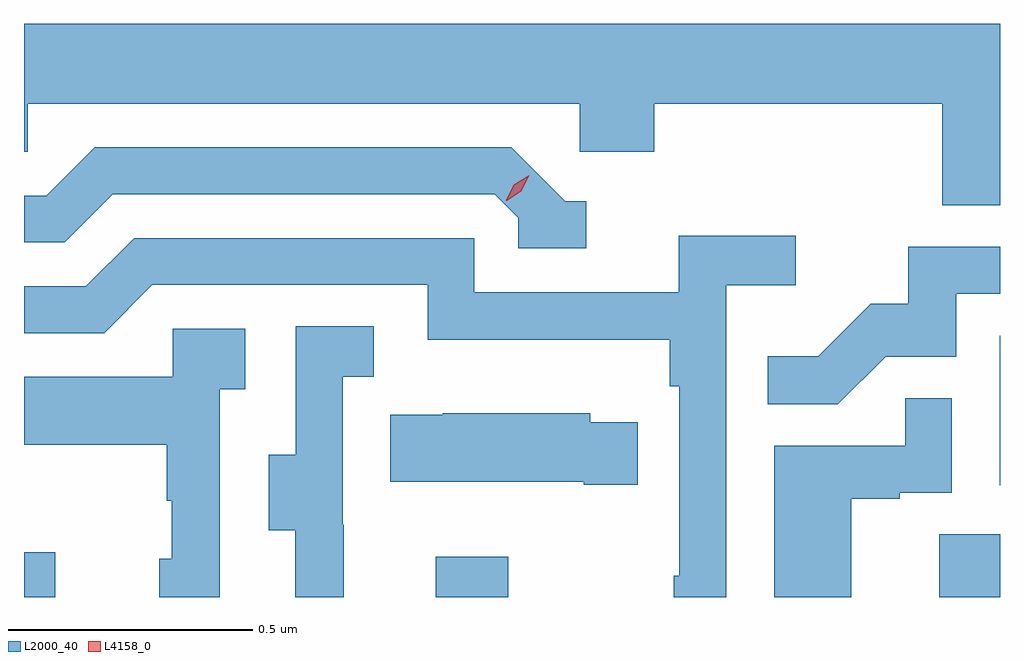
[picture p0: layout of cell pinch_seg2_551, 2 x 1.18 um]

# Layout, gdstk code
import gdstk
lib = gdstk.Library(unit=1e-6, precision=1e-09)
def R(c, l, rs):  # rectangles x0, y0, x1, y1
    for r in rs: c.add(gdstk.rectangle(r[:2], r[2:], *l))
def P(c, l, *ps):  # polygons
    for p in ps: c.add(gdstk.Polygon(p, *l))
L2000_40 = (2000, 40)
L4158_0 = (4158, 0)

pinch_seg2_551 = lib.new_cell('pinch_seg2_551')
R(pinch_seg2_551, L2000_40, [(1119.739,604.001,1119.803,604.093), (1120.583,604.001,1120.731,604.084), (1121.615,604.001,1121.739,604.13), (1121.738,604.23,1121.739,604.537)])
P(pinch_seg2_551, L2000_40, [(1121.739,605.176),(1119.739,605.176),(1119.739,604.914),(1119.747,604.914),(1119.747,605.012),(1120.878,605.012),(1120.878,604.914),(1121.03,604.914),(1121.03,605.012),(1121.621,605.012),(1121.621,604.804),(1121.739,604.804)],
  [(1120.891,604.812),(1120.848,604.812),(1120.737,604.923),(1119.884,604.923),(1119.785,604.824),(1119.739,604.824),(1119.739,604.728),(1119.822,604.728),(1119.921,604.827),(1120.704,604.827),(1120.752,604.779),(1120.752,604.716),(1120.891,604.716)],
  [(1121.178,604.64),(1121.32,604.64),(1121.32,604.742),(1121.081,604.742),(1121.081,604.626),(1120.662,604.626),(1120.662,604.737),(1119.965,604.737),(1119.866,604.638),(1119.739,604.638),(1119.739,604.542),(1119.903,604.542),(1120.002,604.641),(1120.566,604.641),(1120.566,604.529),(1121.062,604.529),(1121.062,604.433),(1121.082,604.433),(1121.082,604.045),(1121.07,604.045),(1121.07,604.001),(1121.178,604.001)],
  [(1121.505,604.494),(1121.649,604.494),(1121.649,604.623),(1121.739,604.623),(1121.739,604.719),(1121.551,604.719),(1121.551,604.602),(1121.474,604.602),(1121.367,604.495),(1121.263,604.495),(1121.263,604.396),(1121.407,604.396)],
  [(1120.394,604.149),(1120.392,604.149),(1120.392,604.453),(1120.456,604.453),(1120.456,604.556),(1120.296,604.556),(1120.296,604.293),(1120.241,604.293),(1120.241,604.138),(1120.295,604.138),(1120.295,604.001),(1120.394,604.001)],
  [(1120.14,604.427),(1120.192,604.427),(1120.192,604.551),(1120.044,604.551),(1120.044,604.453),(1119.739,604.453),(1119.739,604.313),(1120.032,604.313),(1120.032,604.199),(1120.042,604.199),(1120.042,604.08),(1120.016,604.08),(1120.016,604.001),(1120.14,604.001)],
  [(1121.434,604.203),(1121.534,604.203),(1121.534,604.215),(1121.64,604.215),(1121.64,604.409),(1121.545,604.409),(1121.545,604.311),(1121.276,604.311),(1121.276,604.001),(1121.434,604.001)],
  [(1120.997,604.36),(1120.899,604.36),(1120.899,604.378),(1120.597,604.378),(1120.597,604.375),(1120.489,604.375),(1120.489,604.238),(1120.886,604.238),(1120.886,604.231),(1120.997,604.231)])
P(pinch_seg2_551, L4158_0, [(1120.727,604.813),(1120.727,604.814),(1120.743,604.846),(1120.774,604.866),(1120.774,604.866),(1120.774,604.866),(1120.758,604.833),(1120.728,604.813)])

lib.write_gds('pinch_seg2_551.gds')
